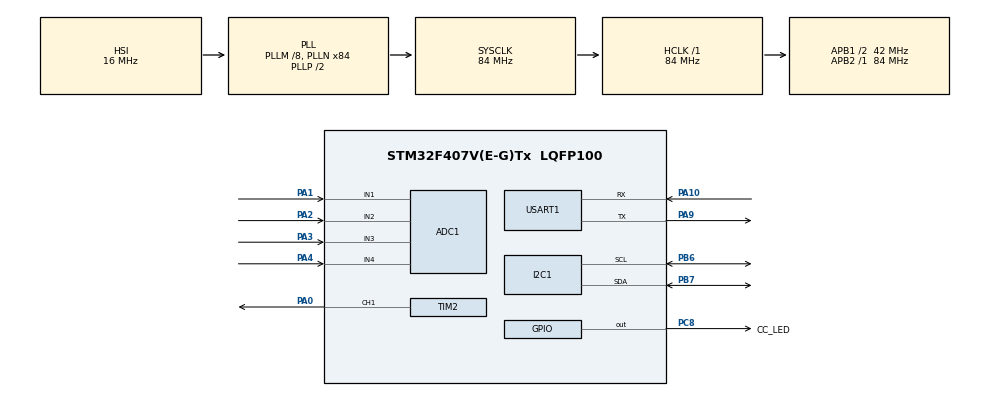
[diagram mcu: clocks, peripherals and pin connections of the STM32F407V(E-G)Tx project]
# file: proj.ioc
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ADC1.Channel-0\#ChannelRegularConversion=ADC_CHANNEL_1
ADC1.Channel-1\#ChannelRegularConversion=ADC_CHANNEL_2
ADC1.Channel-2\#ChannelRegularConversion=ADC_CHANNEL_3
ADC1.Channel-3\#ChannelRegularConversion=ADC_CHANNEL_4
ADC1.DMAContinuousRequests=ENABLE
ADC1.ExternalTrigConv=ADC_EXTERNALTRIGCONV_T2_TRGO
ADC1.NbrOfConversion=4
ADC1.NbrOfConversionFlag=1
ADC1.Rank-0\#ChannelRegularConversion=1
ADC1.Rank-1\#ChannelRegularConversion=2
ADC1.Rank-2\#ChannelRegularConversion=3
ADC1.Rank-3\#ChannelRegularConversion=4
ADC1.SamplingTime-0\#ChannelRegularConversion=ADC_SAMPLETIME_56CYCLES
ADC1.SamplingTime-1\#ChannelRegularConversion=ADC_SAMPLETIME_56CYCLES
ADC1.SamplingTime-2\#ChannelRegularConversion=ADC_SAMPLETIME_56CYCLES
ADC1.SamplingTime-3\#ChannelRegularConversion=ADC_SAMPLETIME_56CYCLES
ADC1.ScanConvMode=ENABLE
ADC1.master=1
Dma.ADC1.0.Direction=DMA_PERIPH_TO_MEMORY
Dma.ADC1.0.FIFOMode=DMA_FIFOMODE_DISABLE
Dma.ADC1.0.Instance=DMA2_Stream0
Dma.ADC1.0.MemDataAlignment=DMA_MDATAALIGN_HALFWORD
Dma.ADC1.0.MemInc=DMA_MINC_ENABLE
Dma.ADC1.0.Mode=DMA_CIRCULAR
Dma.ADC1.0.PeriphDataAlignment=DMA_PDATAALIGN_HALFWORD
Dma.ADC1.0.PeriphInc=DMA_PINC_DISABLE
Dma.ADC1.0.Priority=DMA_PRIORITY_LOW
Dma.Request0=ADC1
I2C1.I2C_Mode=I2C_Fast
Mcu.Family=STM32F4
Mcu.Name=STM32F407V(E-G)Tx
Mcu.Package=LQFP100
NVIC.DMA2_Stream0_IRQn=true\:0\:0\:false\:false\:true\:false\:true\:true
NVIC.PriorityGroup=NVIC_PRIORITYGROUP_4
PA0-WKUP.Signal=S_TIM2_CH1_ETR
PA1.Signal=ADCx_IN1
PA10.Mode=Asynchronous
PA10.Signal=USART1_RX
PA2.Signal=ADCx_IN2
PA3.Signal=ADCx_IN3
PA4.Signal=ADCx_IN4
PA9.Mode=Asynchronous
PA9.Signal=USART1_TX
PB6.Mode=I2C
PB6.Signal=I2C1_SCL
PB7.Mode=I2C
PB7.Signal=I2C1_SDA
PC8.GPIO_Label=CC_LED
PC8.Signal=GPIO_Output
ProjectManager.HeapSize=0x200
ProjectManager.StackSize=0x400
ProjectManager.TargetToolchain=STM32CubeIDE
RCC.48MHZClocksFreq_Value=42000000
RCC.AHBFreq_Value=84000000
RCC.APB1CLKDivider=RCC_HCLK_DIV2
RCC.APB1Freq_Value=42000000
RCC.APB1TimFreq_Value=84000000
RCC.APB2Freq_Value=84000000
RCC.APB2TimFreq_Value=84000000
RCC.CortexFreq_Value=84000000
RCC.HCLKFreq_Value=84000000
RCC.HSE_VALUE=25000000
RCC.HSI_VALUE=16000000
RCC.LSE_VALUE=32768
RCC.PLLM=8
RCC.PLLN=84
RCC.SYSCLKFreq_VALUE=84000000
RCC.SYSCLKSource=RCC_SYSCLKSOURCE_PLLCLK
RCC.VCOOutputFreq_Value=168000000
SH.ADCx_IN1.0=ADC1_IN1,IN1
SH.ADCx_IN2.0=ADC1_IN2,IN2
SH.ADCx_IN3.0=ADC1_IN3,IN3
SH.ADCx_IN4.0=ADC1_IN4,IN4
SH.S_TIM2_CH1_ETR.0=TIM2_CH1,PWM Generation1 CH1
TIM2.AutoReloadPreload=TIM_AUTORELOAD_PRELOAD_ENABLE
TIM2.Channel-PWM\ Generation1\ CH1=TIM_CHANNEL_1
TIM2.CounterMode=TIM_COUNTERMODE_CENTERALIGNED1
TIM2.Period=1679
TIM2.TIM_MasterOutputTrigger=TIM_TRGO_UPDATE
TIM2.TIM_MasterSlaveMode=TIM_MASTERSLAVEMODE_ENABLE
USART1.VirtualMode=VM_ASYNC
VP_TIM2_VS_ClockSourceINT.Mode=Internal
board=custom

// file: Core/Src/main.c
/* USER CODE BEGIN Header */
/**
  ******************************************************************************
  * @file           : main.c
  * @brief          : Main program body
  ******************************************************************************
  * @attention
  *
  * Copyright (c) 2026 STMicroelectronics.
  * All rights reserved.
  *
  * This software is licensed under terms that can be found in the LICENSE file
  * in the root directory of this software component.
  * If no LICENSE file comes with this software, it is provided AS-IS.
  *
  ******************************************************************************
  */
/* USER CODE END Header */
#include "main.h"

/* USER CODE BEGIN Includes */
#include <stdio.h>
#include <string.h>

#include "ssd1306.h"
/* USER CODE END Includes */

ADC_HandleTypeDef hadc1;
DMA_HandleTypeDef hdma_adc1;

I2C_HandleTypeDef hi2c1;

TIM_HandleTypeDef htim2;

UART_HandleTypeDef huart1;

/* USER CODE BEGIN PV */
#define PWM_PERIOD_ARR 1679
#define DUTY_50_PERCENT 840
uint8_t  soft_start_complete = 0;    // 0 = Ramping up, 1 = Done running soft start
int32_t  soft_start_limit    = 0;    // Starts at 0% duty (0 ticks)
int32_t  SOFT_START_STEP     = 50;   // Ramps up ~1% duty per loop cycle
int32_t  MAX_ALLOWED_RAMP    = 1595; // Absolute upper bound (~95% duty)
int32_t temp = 0;
uint8_t  system_booted       = 0;
uint32_t target_voltage_adc   = 700;  // eg Setpoint for 30V
uint32_t target_current_adc   = 800;  // eg Setpoint for 10A
uint32_t current_v_reading    = 0;
uint32_t current_i_reading    = 0;

float Kp_v = 0.40f;
float Ki_v = 0.01f;
float Kd_v = 0.01f;
float error_v = 0.0f;
float integral_v = 0.0f;
float diff_v = 0.0f;
int32_t duty_request_voltage = DUTY_50_PERCENT;

float Kp_i = 0.40f;                    // Current loop is faster; start with lower gains
float Ki_i = 0.01f;
float Kd_i = 0.01f;
float error_i = 0.0f;
float integral_i = 0.0f;
float diff_i = 0.0f;
int32_t duty_request_current = DUTY_50_PERCENT;

int32_t final_ccr_target = DUTY_50_PERCENT;
volatile uint16_t adc_raw_dma[4] = {0, 0, 0, 0};

// Live Telemetry Registers
volatile uint32_t average_adc_vfb = 0;
volatile uint32_t average_adc_ifb = 0;
volatile int32_t manual_ccr = 840;

char* operating_mode = "STARTUP";

char tx_buffer[128];
/* USER CODE END PV */

void SystemClock_Config(void);
static void MX_GPIO_Init(void);
static void MX_DMA_Init(void);
static void MX_ADC1_Init(void);
static void MX_TIM2_Init(void);
static void MX_USART1_UART_Init(void);
static void MX_I2C1_Init(void);

int main(void)
{

  /* MCU Configuration--------------------------------------------------------*/

  /* Reset of all peripherals, Initializes the Flash interface and the Systick. */
  HAL_Init();

  /* Configure the system clock */
  SystemClock_Config();

  /* Initialize all configured peripherals */
  MX_GPIO_Init();
  MX_DMA_Init();
  MX_ADC1_Init();
  MX_TIM2_Init();
  MX_USART1_UART_Init();
  MX_I2C1_Init();
  /* USER CODE BEGIN 2 */
  char *boot_msg = "\r\n=== DUAL CHANNEL SERIAL SYSTEM ONLINE ===\r\n";
    HAL_UART_Transmit(&huart1, (uint8_t*)boot_msg, strlen(boot_msg), 100);
  	TIM2->CCR1 = PWM_PERIOD_ARR;

    TIM2->CCMR1 |= TIM_CCMR1_OC1PE;

    HAL_TIM_PWM_Start(&htim2, TIM_CHANNEL_1);

    __HAL_TIM_MOE_ENABLE(&htim2);
    HAL_ADC_Start_DMA(&hadc1, (uint32_t*)adc_raw_dma, 4);

      HAL_Delay(5); // Small pause to show the splash screen
  /* USER CODE END 2 */

  /* Infinite loop */
  /* USER CODE BEGIN WHILE */
  while (1)
  {
	  uint32_t target_v = 0;
	  uint32_t target_i = 0;
	  uint32_t v_accumulator = 0;
	  uint32_t i_accumulator = 0;
	  	  for (int i = 0; i < 50; i++)
	  	        {
	  		  	  	target_v += adc_raw_dma[0];
	  		  	  	target_i += adc_raw_dma[1];
	  	            v_accumulator += adc_raw_dma[2]; // Read voltage position
	  	            i_accumulator += adc_raw_dma[3]; // Read current position
	  	            HAL_Delay(1); // Tiny spacing between reads to gather unique conversion cycles
	  	        }
	  	  	 uint32_t target_v_raw = target_v/50;
	  	  	 uint32_t target_i_raw = target_i/50;
	  	    current_v_reading = v_accumulator / 50;
	  	    current_i_reading = i_accumulator / 50;

	  	  target_voltage_adc = 700 + ((target_v_raw * 1622) / 4095);
	  	    target_current_adc = 0 + ((target_i_raw * 1023)/4095);

	  	      error_v = (float)((int32_t)target_voltage_adc - (int32_t)current_v_reading);
	  	      	  	            integral_v += error_v;
	  	      	  	            diff_v -= error_v;
	  	      	  	            if (integral_v > 10000.0f)  integral_v = 10000.0f;
	  	      	  	            if (integral_v < -10000.0f) integral_v = -10000.0f;
	  	      	  	            if (diff_v > 10000.0f)  diff_v = 10000.0f;
	  	      	  	          	if (diff_v < -10000.0f) diff_v = -10000.0f;
	  	      	  	            duty_request_voltage += (int32_t)((Kp_v * error_v) + (Ki_v * integral_v) + (Kd_v * diff_v));
	  	      	  	            if (duty_request_voltage > 1595) duty_request_voltage = 1595;
	  	      	  	      	  	if (duty_request_voltage < 0)   duty_request_voltage = 0;
	  	       error_i = (float)((int32_t)target_current_adc - (int32_t)current_i_reading);
	  	      	  	      	  	integral_i += error_i;
	  	      	  	      	  	diff_i -= error_i;
	  	      	  	      	  	if (integral_i > 2000.0f)  integral_i = 2000.0f;
	  	      	  	      	    if (integral_i < -2000.0f) integral_i = -2000.0f;
								if (diff_i > 2000.0f)  diff_i = 2000.0f;
								if (diff_i < -2000.0f) diff_i = -2000.0f;
	  	      	  	      	  	duty_request_current += (int32_t)((Kp_i * error_i) + (Ki_i * integral_i) + (Kd_i * diff_i));
	  	      	  	      	  	if (duty_request_current > 1595) {
	  	      	  	      	  		duty_request_current = 1595;
	  	      	  	      	  		//current_i_reading =6;
	  	      	  	      	  	}
	  	      	  	      	  	if (duty_request_current < 5)   duty_request_current = 5;
	  	      	  	      //sprintf(tx_buffer, "VOLTAGE ADC (IN1): %4lu\r\nduty: %ld\r\nCurrent ADC (IN2): %4lu\r\n",
	  	      	  	      	  //	          current_v_reading, duty_request_current,current_i_reading);

	  	      	  	      	  	//        HAL_UART_Transmit(&huart1, (uint8_t*)tx_buffer, strlen(tx_buffer), 100);

	  	      if ((current_v_reading < 20))
	  	      	  	            {
	  	      	  	                // AC is OFF: Keep the gate drive safely dead and freeze the soft-start state
	  	      	  	                //final_ccr_target = 0;
	  	      	  	                soft_start_limit = 0;
	  	      	  	                soft_start_complete = 0;
	  	      	  	                operating_mode = "OFF (NO AC)";
	  	      	  	              //  integral_v = 0.0f;
	  	      	  	                //diff_v = 0.0f;
	  	      	  	               // integral_i = 0.0f;
	  	      	  	          HAL_GPIO_WritePin(CC_LED_GPIO_Port, CC_LED_Pin, GPIO_PIN_RESET);
	  	      	  	            }
	  	      	  	      else if(soft_start_complete == 0)
	  	      	  	      	  	        	{
											    operating_mode = "SOFT START";
	  	      	  	      	  	                // Increment the artificial duty ceiling slowly on each execution frame
	  	      	  	      	  	                soft_start_limit += SOFT_START_STEP;

	  	      	  	      	  	                // The PI loop outputs are ignored during ramp-up; we anchor directly to the limit
	  	      	  	      	  	                final_ccr_target = soft_start_limit;
  	      	  	      	  	                	if (duty_request_voltage < duty_request_current)
													temp = duty_request_voltage;
												else
													temp = duty_request_current;

	  	      	  	      	  	                // Keep the integral accumulators fully cleared to prevent pre-regulation windup
	  	      	  	      	  	              //  integral_v = 0.0f;
	  	      	  	      	  	              //  integral_i = 0.0f;
	  	      	  	      	  	               // diff_v = 0.0f;
	  	      	  	      	  	                // Check if our soft-start limit has safely reached the target running ceiling
	  	      	  	      	  	                if ((soft_start_limit >= temp))
	  	      	  	      	  	                {
	  	      	  	      	  	                	if (duty_request_voltage < duty_request_current)
														soft_start_limit = duty_request_voltage;
													else
														soft_start_limit = duty_request_current;
	  	      	  	      	  	                    soft_start_complete = 1; // Soft start finished! Hand over to the system states next loop
	  	      	  	      	  	                }
	  	      	  	      	  	                HAL_GPIO_WritePin(CC_LED_GPIO_Port, CC_LED_Pin, GPIO_PIN_RESET);
	  	      	  	      	  	               // HAL_Delay(50);
	  	      	  	      	  	            }
	  	      	  	      else
	  	      	  	      {
	  	  // 1. STATE SELECTION
	  	        if (system_booted == 0 && ((current_i_reading >= target_current_adc)||(current_v_reading >= target_voltage_adc)))
	  	        {
	  	            system_booted = 1; // Transition to PI mode permanently
	  	            integral_i = 0.0f; // Clear windup for a clean start
	  	            integral_v = 0.0f;
	  	            diff_i = 0.0f;
	  	            diff_v = 0.0f;
	  	        }

	  	        if (system_booted == 0)
	  	        {
	  	            // Pure maximum power blast on boot up
	  	            final_ccr_target = MAX_ALLOWED_RAMP;
	  	            integral_i = 0.0f;
	  	            integral_v = 0.0f;
	  	            diff_i = 0.0f;
	  	            diff_v = 0.0f;
	  	          operating_mode = "BOOSTING CAP";
	  	          HAL_GPIO_WritePin(CC_LED_GPIO_Port, CC_LED_Pin, GPIO_PIN_RESET);

	  	        }
	  	        else
	  	        {
	  	            // 2. TRUE PI REGULATION LOOP
	  	            // Standard Forward Logic: Target - Current

	  	            if (duty_request_voltage < duty_request_current){
	  	                final_ccr_target = duty_request_voltage;
	  	            	operating_mode = "CV Mode";
	  	            	HAL_GPIO_WritePin(CC_LED_GPIO_Port, CC_LED_Pin, GPIO_PIN_RESET);
	  	            }
	  	            else{
	  	                final_ccr_target = duty_request_current;
	  	            	operating_mode = "CC Mode";
	  	            	HAL_GPIO_WritePin(CC_LED_GPIO_Port, CC_LED_Pin, GPIO_PIN_SET);
	  	            }
	  	        }
	  	      	  	      }

	  	        // =========================================================
	  	        // 3. YOUR HYSTERETIC SAFETY BRAKE (Placed after all math)
	  	        // =========================================================
	  	        // If the voltage is physically above target, bypass the loops and slam the brake!

	  	      /*if (current_v_reading > (target_voltage_adc + 200))
	  	            {
	  	                final_ccr_target = PWM_PERIOD_ARR - duty_request_voltage;
	  	               integral_v = 0.0f;
	  	                integral_i = 0.0f;
	  	            }*/
	  	        // 4. ABSOLUTE HARDWARE BOUNDARY CLAMPS
	  	        if (final_ccr_target > 1595) final_ccr_target = 1595;
	  	        if (final_ccr_target < 0)   final_ccr_target = 0;

	  	        // 5. HARDWARE REGISTER WRITE
	  	        TIM2->CCR1 = final_ccr_target;
	  	        TIM2->CCMR1 |= TIM_CCMR1_OC1PE;

	  	      static uint32_t last_print = 0;
	  	            if (HAL_GetTick() - last_print > 100)
	  	            {
	  	                last_print = HAL_GetTick();
	  	                sprintf(tx_buffer, "\033[H\033[J=== AUTOMATIC CV/CC MONITOR ===\r\n"
	  	                                   "MODE STATUS : %s\r\n"
	  	                                   "Voltage ADC : %4lu\r\n"
	  	                                   "Current ADC : %4lu\r\n",
	  	                                   operating_mode,
	  	                                   current_v_reading,
	  	                                   current_i_reading);
	  	                HAL_UART_Transmit(&huart1, (uint8_t*)tx_buffer, strlen(tx_buffer), 80);

	  	            }

	  	        HAL_Delay(1);
    /* USER CODE END WHILE */

  }
}

void SystemClock_Config(void)
{
  RCC_OscInitTypeDef RCC_OscInitStruct = {0};
  RCC_ClkInitTypeDef RCC_ClkInitStruct = {0};

  /** Configure the main internal regulator output voltage
  */
  __HAL_RCC_PWR_CLK_ENABLE();
  __HAL_PWR_VOLTAGESCALING_CONFIG(PWR_REGULATOR_VOLTAGE_SCALE1);

  /** Initializes the RCC Oscillators according to the specified parameters
  * in the RCC_OscInitTypeDef structure.
  */
  RCC_OscInitStruct.OscillatorType = RCC_OSCILLATORTYPE_HSI;
  RCC_OscInitStruct.HSIState = RCC_HSI_ON;
  RCC_OscInitStruct.HSICalibrationValue = RCC_HSICALIBRATION_DEFAULT;
  RCC_OscInitStruct.PLL.PLLState = RCC_PLL_ON;
  RCC_OscInitStruct.PLL.PLLSource = RCC_PLLSOURCE_HSI;
  RCC_OscInitStruct.PLL.PLLM = 8;
  RCC_OscInitStruct.PLL.PLLN = 84;
  RCC_OscInitStruct.PLL.PLLP = RCC_PLLP_DIV2;
  RCC_OscInitStruct.PLL.PLLQ = 4;
  if (HAL_RCC_OscConfig(&RCC_OscInitStruct) != HAL_OK)
  {
    Error_Handler();
  }

  /** Initializes the CPU, AHB and APB buses clocks
  */
  RCC_ClkInitStruct.ClockType = RCC_CLOCKTYPE_HCLK|RCC_CLOCKTYPE_SYSCLK
                              |RCC_CLOCKTYPE_PCLK1|RCC_CLOCKTYPE_PCLK2;
  RCC_ClkInitStruct.SYSCLKSource = RCC_SYSCLKSOURCE_PLLCLK;
  RCC_ClkInitStruct.AHBCLKDivider = RCC_SYSCLK_DIV1;
  RCC_ClkInitStruct.APB1CLKDivider = RCC_HCLK_DIV2;
  RCC_ClkInitStruct.APB2CLKDivider = RCC_HCLK_DIV1;

  if (HAL_RCC_ClockConfig(&RCC_ClkInitStruct, FLASH_LATENCY_2) != HAL_OK)
  {
    Error_Handler();
  }
}

static void MX_ADC1_Init(void)
{

  ADC_ChannelConfTypeDef sConfig = {0};

  /** Configure the global features of the ADC (Clock, Resolution, Data Alignment and number of conversion)
  */
  hadc1.Instance = ADC1;
  hadc1.Init.ClockPrescaler = ADC_CLOCK_SYNC_PCLK_DIV4;
  hadc1.Init.Resolution = ADC_RESOLUTION_12B;
  hadc1.Init.ScanConvMode = ENABLE;
  hadc1.Init.ContinuousConvMode = DISABLE;
  hadc1.Init.DiscontinuousConvMode = DISABLE;
  hadc1.Init.ExternalTrigConvEdge = ADC_EXTERNALTRIGCONVEDGE_RISING;
  hadc1.Init.ExternalTrigConv = ADC_EXTERNALTRIGCONV_T2_TRGO;
  hadc1.Init.DataAlign = ADC_DATAALIGN_RIGHT;
  hadc1.Init.NbrOfConversion = 4;
  hadc1.Init.DMAContinuousRequests = ENABLE;
  hadc1.Init.EOCSelection = ADC_EOC_SINGLE_CONV;
  if (HAL_ADC_Init(&hadc1) != HAL_OK)
  {
    Error_Handler();
  }

  /** Configure for the selected ADC regular channel its corresponding rank in the sequencer and its sample time.
  */
  sConfig.Channel = ADC_CHANNEL_1;
  sConfig.Rank = 1;
  sConfig.SamplingTime = ADC_SAMPLETIME_56CYCLES;
  if (HAL_ADC_ConfigChannel(&hadc1, &sConfig) != HAL_OK)
  {
    Error_Handler();
  }

  /** Configure for the selected ADC regular channel its corresponding rank in the sequencer and its sample time.
  */
  sConfig.Channel = ADC_CHANNEL_2;
  sConfig.Rank = 2;
  if (HAL_ADC_ConfigChannel(&hadc1, &sConfig) != HAL_OK)
  {
    Error_Handler();
  }

  /** Configure for the selected ADC regular channel its corresponding rank in the sequencer and its sample time.
  */
  sConfig.Channel = ADC_CHANNEL_3;
  sConfig.Rank = 3;
  if (HAL_ADC_ConfigChannel(&hadc1, &sConfig) != HAL_OK)
  {
    Error_Handler();
  }

  /** Configure for the selected ADC regular channel its corresponding rank in the sequencer and its sample time.
  */
  sConfig.Channel = ADC_CHANNEL_4;
  sConfig.Rank = 4;
  if (HAL_ADC_ConfigChannel(&hadc1, &sConfig) != HAL_OK)
  {
    Error_Handler();
  }

}

static void MX_I2C1_Init(void)
{

  hi2c1.Instance = I2C1;
  hi2c1.Init.ClockSpeed = 400000;
  hi2c1.Init.DutyCycle = I2C_DUTYCYCLE_2;
  hi2c1.Init.OwnAddress1 = 0;
  hi2c1.Init.AddressingMode = I2C_ADDRESSINGMODE_7BIT;
  hi2c1.Init.DualAddressMode = I2C_DUALADDRESS_DISABLE;
  hi2c1.Init.OwnAddress2 = 0;
  hi2c1.Init.GeneralCallMode = I2C_GENERALCALL_DISABLE;
  hi2c1.Init.NoStretchMode = I2C_NOSTRETCH_DISABLE;
  if (HAL_I2C_Init(&hi2c1) != HAL_OK)
  {
    Error_Handler();
  }

}

static void MX_TIM2_Init(void)
{

  TIM_ClockConfigTypeDef sClockSourceConfig = {0};
  TIM_MasterConfigTypeDef sMasterConfig = {0};
  TIM_OC_InitTypeDef sConfigOC = {0};

  htim2.Instance = TIM2;
  htim2.Init.Prescaler = 0;
  htim2.Init.CounterMode = TIM_COUNTERMODE_CENTERALIGNED1;
  htim2.Init.Period = 1679;
  htim2.Init.ClockDivision = TIM_CLOCKDIVISION_DIV1;
  htim2.Init.AutoReloadPreload = TIM_AUTORELOAD_PRELOAD_ENABLE;
  if (HAL_TIM_Base_Init(&htim2) != HAL_OK)
  {
    Error_Handler();
  }
  sClockSourceConfig.ClockSource = TIM_CLOCKSOURCE_INTERNAL;
  if (HAL_TIM_ConfigClockSource(&htim2, &sClockSourceConfig) != HAL_OK)
  {
    Error_Handler();
  }
  if (HAL_TIM_PWM_Init(&htim2) != HAL_OK)
  {
    Error_Handler();
  }
  sMasterConfig.MasterOutputTrigger = TIM_TRGO_UPDATE;
  sMasterConfig.MasterSlaveMode = TIM_MASTERSLAVEMODE_ENABLE;
  if (HAL_TIMEx_MasterConfigSynchronization(&htim2, &sMasterConfig) != HAL_OK)
  {
    Error_Handler();
  }
  sConfigOC.OCMode = TIM_OCMODE_PWM1;
  sConfigOC.Pulse = 0;
  sConfigOC.OCPolarity = TIM_OCPOLARITY_HIGH;
  sConfigOC.OCFastMode = TIM_OCFAST_DISABLE;
  if (HAL_TIM_PWM_ConfigChannel(&htim2, &sConfigOC, TIM_CHANNEL_1) != HAL_OK)
  {
    Error_Handler();
  }
  HAL_TIM_MspPostInit(&htim2);

}

static void MX_USART1_UART_Init(void)
{

  huart1.Instance = USART1;
  huart1.Init.BaudRate = 115200;
  huart1.Init.WordLength = UART_WORDLENGTH_8B;
  huart1.Init.StopBits = UART_STOPBITS_1;
  huart1.Init.Parity = UART_PARITY_NONE;
  huart1.Init.Mode = UART_MODE_TX_RX;
  huart1.Init.HwFlowCtl = UART_HWCONTROL_NONE;
  huart1.Init.OverSampling = UART_OVERSAMPLING_16;
  if (HAL_UART_Init(&huart1) != HAL_OK)
  {
    Error_Handler();
  }

}

static void MX_DMA_Init(void)
{

  /* DMA controller clock enable */
  __HAL_RCC_DMA2_CLK_ENABLE();

  /* DMA interrupt init */
  /* DMA2_Stream0_IRQn interrupt configuration */
  HAL_NVIC_SetPriority(DMA2_Stream0_IRQn, 0, 0);
  HAL_NVIC_EnableIRQ(DMA2_Stream0_IRQn);

}

static void MX_GPIO_Init(void)
{
  GPIO_InitTypeDef GPIO_InitStruct = {0};

  /* GPIO Ports Clock Enable */
  __HAL_RCC_GPIOA_CLK_ENABLE();
  __HAL_RCC_GPIOC_CLK_ENABLE();
  __HAL_RCC_GPIOB_CLK_ENABLE();

  /*Configure GPIO pin Output Level */
  HAL_GPIO_WritePin(CC_LED_GPIO_Port, CC_LED_Pin, GPIO_PIN_RESET);

  /*Configure GPIO pin : CC_LED_Pin */
  GPIO_InitStruct.Pin = CC_LED_Pin;
  GPIO_InitStruct.Mode = GPIO_MODE_OUTPUT_PP;
  GPIO_InitStruct.Pull = GPIO_NOPULL;
  GPIO_InitStruct.Speed = GPIO_SPEED_FREQ_LOW;
  HAL_GPIO_Init(CC_LED_GPIO_Port, &GPIO_InitStruct);

}

void Error_Handler(void)
{
  __disable_irq();
  while (1)
  {
  }
}
